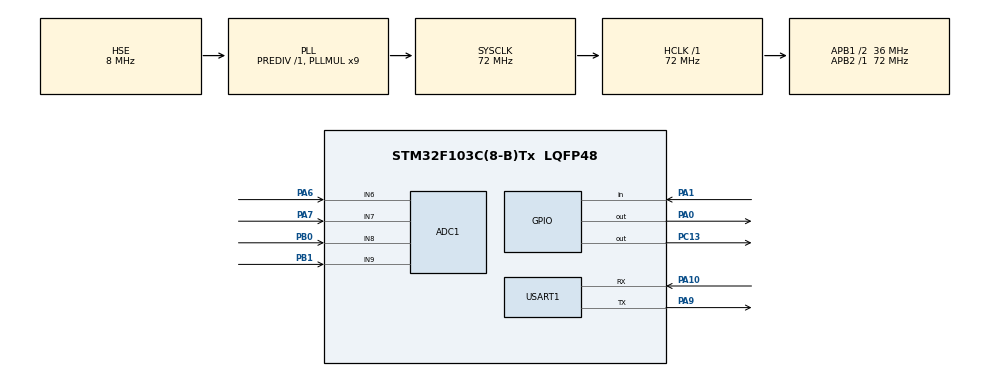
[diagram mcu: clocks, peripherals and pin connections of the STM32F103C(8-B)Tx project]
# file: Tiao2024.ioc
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ADC1.Channel-1\#ChannelRegularConversion=ADC_CHANNEL_6
ADC1.Channel-2\#ChannelRegularConversion=ADC_CHANNEL_7
ADC1.Channel-3\#ChannelRegularConversion=ADC_CHANNEL_8
ADC1.Channel-4\#ChannelRegularConversion=ADC_CHANNEL_9
ADC1.ContinuousConvMode=DISABLE
ADC1.DiscontinuousConvMode=ENABLE
ADC1.NbrOfConversion=4
ADC1.NbrOfConversionFlag=1
ADC1.Rank-1\#ChannelRegularConversion=1
ADC1.Rank-2\#ChannelRegularConversion=2
ADC1.Rank-3\#ChannelRegularConversion=3
ADC1.Rank-4\#ChannelRegularConversion=4
ADC1.SamplingTime-1\#ChannelRegularConversion=ADC_SAMPLETIME_1CYCLE_5
ADC1.SamplingTime-2\#ChannelRegularConversion=ADC_SAMPLETIME_1CYCLE_5
ADC1.SamplingTime-3\#ChannelRegularConversion=ADC_SAMPLETIME_1CYCLE_5
ADC1.SamplingTime-4\#ChannelRegularConversion=ADC_SAMPLETIME_1CYCLE_5
ADC1.master=1
Mcu.Family=STM32F1
Mcu.Name=STM32F103C(8-B)Tx
Mcu.Package=LQFP48
NVIC.ADC1_2_IRQn=true\:0\:0\:false\:false\:true\:true\:true\:true
NVIC.PriorityGroup=NVIC_PRIORITYGROUP_4
NVIC.TIM1_UP_IRQn=true\:0\:0\:false\:false\:true\:true\:true\:true
NVIC.TIM2_IRQn=true\:0\:0\:false\:false\:true\:true\:true\:true
PA0-WKUP.GPIO_PuPd=GPIO_NOPULL
PA0-WKUP.GPIO_Speed=GPIO_SPEED_FREQ_MEDIUM
PA0-WKUP.Signal=GPIO_Output
PA1.GPIO_PuPd=GPIO_PULLUP
PA1.Signal=GPIO_Input
PA10.Mode=Asynchronous
PA10.Signal=USART1_RX
PA13.Mode=Serial_Wire
PA13.Signal=SYS_JTMS-SWDIO
PA14.Mode=Serial_Wire
PA14.Signal=SYS_JTCK-SWCLK
PA6.Signal=ADCx_IN6
PA7.Signal=ADCx_IN7
PA9.Mode=Asynchronous
PA9.Signal=USART1_TX
PB0.Signal=ADCx_IN8
PB1.Signal=ADCx_IN9
PC13-TAMPER-RTC.Signal=GPIO_Output
PD0-OSC_IN.Mode=HSE-External-Oscillator
PD0-OSC_IN.Signal=RCC_OSC_IN
PD1-OSC_OUT.Mode=HSE-External-Oscillator
PD1-OSC_OUT.Signal=RCC_OSC_OUT
ProjectManager.HeapSize=0x200
ProjectManager.StackSize=0x400
ProjectManager.TargetToolchain=MDK-ARM V5.32
RCC.ADCPresc=RCC_ADCPCLK2_DIV6
RCC.AHBFreq_Value=72000000
RCC.APB1CLKDivider=RCC_HCLK_DIV2
RCC.APB1Freq_Value=36000000
RCC.APB1TimFreq_Value=72000000
RCC.APB2Freq_Value=72000000
RCC.APB2TimFreq_Value=72000000
RCC.HCLKFreq_Value=72000000
RCC.PLLMUL=RCC_PLL_MUL9
RCC.PLLSourceVirtual=RCC_PLLSOURCE_HSE
RCC.SYSCLKFreq_VALUE=72000000
RCC.SYSCLKSource=RCC_SYSCLKSOURCE_PLLCLK
RCC.USBFreq_Value=72000000
SH.ADCx_IN6.0=ADC1_IN6,IN6
SH.ADCx_IN7.0=ADC1_IN7,IN7
SH.ADCx_IN8.0=ADC1_IN8,IN8
SH.ADCx_IN9.0=ADC1_IN9,IN9
TIM1.AutoReloadPreload=TIM_AUTORELOAD_PRELOAD_ENABLE
TIM1.Period=1000-1
TIM1.Prescaler=72-1
TIM2.AutoReloadPreload=TIM_AUTORELOAD_PRELOAD_ENABLE
TIM2.Period=7199
USART1.VirtualMode=VM_ASYNC
VP_TIM1_VS_ClockSourceINT.Mode=Internal
VP_TIM2_VS_ClockSourceINT.Mode=Internal
board=custom

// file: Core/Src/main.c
/* USER CODE BEGIN Header */
/**
  ******************************************************************************
  * @file           : main.c
  * @brief          : Main program body
  ******************************************************************************
  * @attention
  *
  * Copyright (c) 2024 STMicroelectronics.
  * All rights reserved.
  *
  * This software is licensed under terms that can be found in the LICENSE file
  * in the root directory of this software component.
  * If no LICENSE file comes with this software, it is provided AS-IS.
  *
  ******************************************************************************
  */
/* USER CODE END Header */
#include "main.h"
#include "adc.h"
#include "tim.h"
#include "usart.h"
#include "gpio.h"

/* USER CODE BEGIN PV */
uint16_t ADC1_Value_DMA[4]={0};
uint16_t TIM_Tick = 0;
uint8_t USART_buff[10];
uint16_t DISTANCE;//距离
uint16_t Time=0;//高电平时间
/* USER CODE END PV */

void SystemClock_Config(void);
/* USER CODE BEGIN PFP */
uint16_t HCSR04_GetValue();
/* USER CODE END PFP */

int main(void)
{

  /* MCU Configuration--------------------------------------------------------*/

  /* Reset of all peripherals, Initializes the Flash interface and the Systick. */
  HAL_Init();

  /* Configure the system clock */
  SystemClock_Config();

  /* Initialize all configured peripherals */
  MX_GPIO_Init();
  MX_ADC1_Init();
  MX_TIM1_Init();
  MX_USART1_UART_Init();
  MX_TIM2_Init();
  /* USER CODE BEGIN 2 */
	HAL_TIM_Base_Start_IT(&htim1);
	HAL_TIM_Base_Start_IT(&htim2);
	HAL_ADCEx_Calibration_Start(&hadc1);

  /* USER CODE END 2 */

  /* Infinite loop */
  /* USER CODE BEGIN WHILE */
  while (1)
  {
		if(TIM_Tick<=1000)
		{
			HAL_GPIO_WritePin(GPIOA,GPIO_PIN_0,GPIO_PIN_RESET);//HC-SR04 init
			HAL_GPIO_WritePin(GPIOC,GPIO_PIN_13,GPIO_PIN_SET);
			continue;
		}

		for(int i=0;i<4;i++)
		{
		HAL_ADC_Start(&hadc1);
		HAL_ADC_PollForConversion(&hadc1,0xffff);
		ADC1_Value_DMA[i]=HAL_ADC_GetValue(&hadc1);
		}
		HAL_ADC_Stop(&hadc1);

		DISTANCE=HCSR04_GetValue();

		HAL_Delay(300);
		HAL_GPIO_WritePin(GPIOC,GPIO_PIN_13,GPIO_PIN_RESET);
		HAL_Delay(300);
		HAL_GPIO_WritePin(GPIOC,GPIO_PIN_13,GPIO_PIN_SET);

    /* USER CODE END WHILE */

  }
}

void SystemClock_Config(void)
{
  RCC_OscInitTypeDef RCC_OscInitStruct = {0};
  RCC_ClkInitTypeDef RCC_ClkInitStruct = {0};
  RCC_PeriphCLKInitTypeDef PeriphClkInit = {0};

  /** Initializes the RCC Oscillators according to the specified parameters
  * in the RCC_OscInitTypeDef structure.
  */
  RCC_OscInitStruct.OscillatorType = RCC_OSCILLATORTYPE_HSE;
  RCC_OscInitStruct.HSEState = RCC_HSE_ON;
  RCC_OscInitStruct.HSEPredivValue = RCC_HSE_PREDIV_DIV1;
  RCC_OscInitStruct.HSIState = RCC_HSI_ON;
  RCC_OscInitStruct.PLL.PLLState = RCC_PLL_ON;
  RCC_OscInitStruct.PLL.PLLSource = RCC_PLLSOURCE_HSE;
  RCC_OscInitStruct.PLL.PLLMUL = RCC_PLL_MUL9;
  if (HAL_RCC_OscConfig(&RCC_OscInitStruct) != HAL_OK)
  {
    Error_Handler();
  }

  /** Initializes the CPU, AHB and APB buses clocks
  */
  RCC_ClkInitStruct.ClockType = RCC_CLOCKTYPE_HCLK|RCC_CLOCKTYPE_SYSCLK
                              |RCC_CLOCKTYPE_PCLK1|RCC_CLOCKTYPE_PCLK2;
  RCC_ClkInitStruct.SYSCLKSource = RCC_SYSCLKSOURCE_PLLCLK;
  RCC_ClkInitStruct.AHBCLKDivider = RCC_SYSCLK_DIV1;
  RCC_ClkInitStruct.APB1CLKDivider = RCC_HCLK_DIV2;
  RCC_ClkInitStruct.APB2CLKDivider = RCC_HCLK_DIV1;

  if (HAL_RCC_ClockConfig(&RCC_ClkInitStruct, FLASH_LATENCY_2) != HAL_OK)
  {
    Error_Handler();
  }
  PeriphClkInit.PeriphClockSelection = RCC_PERIPHCLK_ADC;
  PeriphClkInit.AdcClockSelection = RCC_ADCPCLK2_DIV6;
  if (HAL_RCCEx_PeriphCLKConfig(&PeriphClkInit) != HAL_OK)
  {
    Error_Handler();
  }
}

/* USER CODE BEGIN 4 */

void HCSR04_Start()
{
	HAL_GPIO_WritePin(GPIOA,GPIO_PIN_0,GPIO_PIN_SET);
	HAL_Delay(45);
	HAL_GPIO_WritePin(GPIOA,GPIO_PIN_0,GPIO_PIN_RESET);
	Time=0;
}

uint16_t HCSR04_GetValue()
{
	HCSR04_Start();
	HAL_Delay(100);
//	return ((Time * 0.0001) * 34000) / 2;  // cm/s  [(0.00001s*340m/s)/2] * 100
	return Time;
}
/* USER CODE END 4 */

void Error_Handler(void)
{
  __disable_irq();
  while (1)
  {
  }
}
